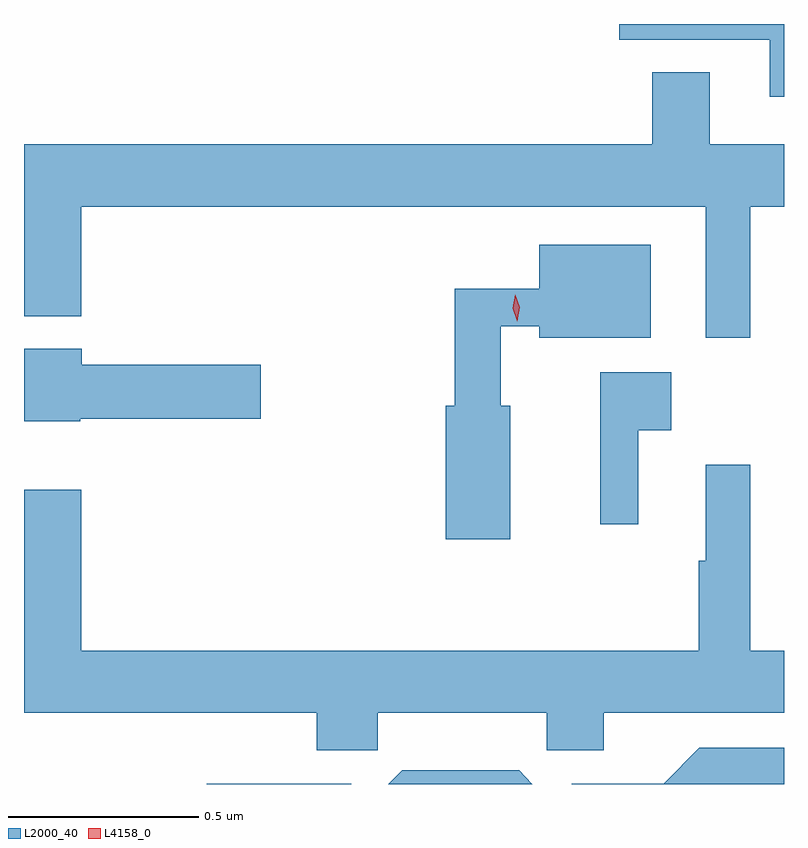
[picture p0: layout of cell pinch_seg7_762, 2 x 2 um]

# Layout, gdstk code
import gdstk
lib = gdstk.Library(unit=1e-6, precision=1e-09)
def R(c, l, rs):  # rectangles x0, y0, x1, y1
    for r in rs: c.add(gdstk.rectangle(r[:2], r[2:], *l))
def P(c, l, *ps):  # polygons
    for p in ps: c.add(gdstk.Polygon(p, *l))
L2000_40 = (2000, 40)
L4158_0 = (4158, 0)

pinch_seg7_762 = lib.new_cell('pinch_seg7_762')
R(pinch_seg7_762, L2000_40, [(327.873,1017.745,328.253,1017.746)])
P(pinch_seg7_762, L2000_40, [(329.392,1019.745),(328.958,1019.745),(328.958,1019.703),(329.354,1019.703),(329.354,1019.553),(329.392,1019.553)],
  [(329.303,1019.264),(329.392,1019.264),(329.392,1019.428),(329.197,1019.428),(329.197,1019.618),(329.045,1019.618),(329.045,1019.428),(327.392,1019.428),(327.392,1018.976),(327.542,1018.976),(327.542,1019.264),(329.186,1019.264),(329.186,1018.92),(329.303,1018.92)],
  [(328.672,1018.741),(328.646,1018.741),(328.646,1018.949),(328.748,1018.949),(328.748,1018.919),(329.041,1018.919),(329.041,1019.164),(328.748,1019.164),(328.748,1019.048),(328.525,1019.048),(328.525,1018.741),(328.502,1018.741),(328.502,1018.389),(328.672,1018.389)],
  [(327.54,1018.706),(328.015,1018.706),(328.015,1018.848),(327.544,1018.848),(327.544,1018.891),(327.392,1018.891),(327.392,1018.7),(327.54,1018.7)],
  [(329.009,1018.676),(329.095,1018.676),(329.095,1018.828),(328.909,1018.828),(328.909,1018.428),(329.009,1018.428)],
  [(328.323,1017.932),(328.768,1017.932),(328.768,1017.834),(328.918,1017.834),(328.918,1017.932),(329.392,1017.932),(329.392,1018.096),(329.303,1018.096),(329.303,1018.585),(329.186,1018.585),(329.186,1018.332),(329.167,1018.332),(329.167,1018.096),(327.542,1018.096),(327.542,1018.519),(327.392,1018.519),(327.392,1017.932),(328.163,1017.932),(328.163,1017.834),(328.323,1017.834)],
  [(329.392,1017.84),(329.169,1017.84),(329.075,1017.746),(328.834,1017.746),(328.834,1017.745),(329.392,1017.745)],
  [(328.695,1017.781),(328.387,1017.781),(328.351,1017.745),(328.73,1017.745)])
P(pinch_seg7_762, L4158_0, [(328.69,1018.963),(328.69,1018.963),(328.678,1018.997),(328.685,1019.033),(328.685,1019.033),(328.685,1019.033),(328.697,1018.999),(328.69,1018.963)])

lib.write_gds('pinch_seg7_762.gds')
